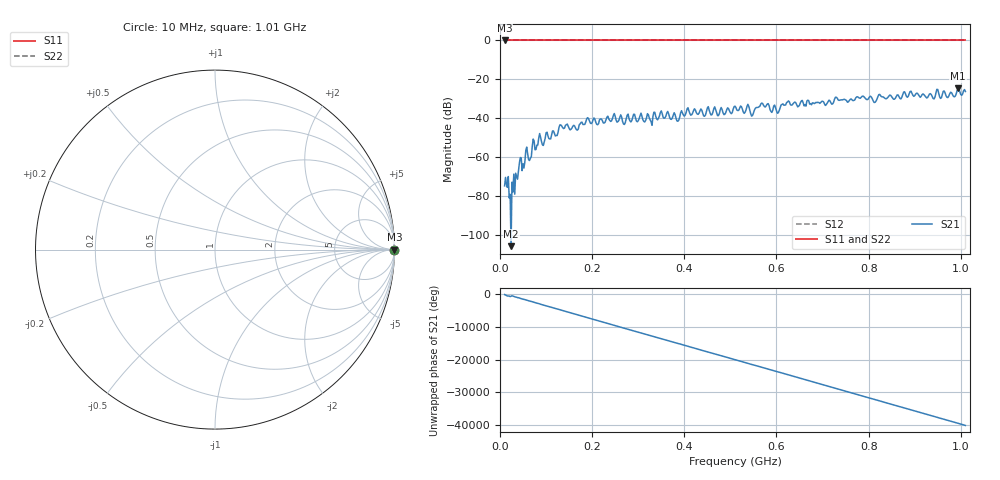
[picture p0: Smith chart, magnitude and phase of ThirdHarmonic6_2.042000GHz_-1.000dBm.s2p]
! 8/17/2025 12:29:33 AM
! C:\ANRITSUVNA\TEMP\TEMP.S2P
! CHANNEL.1
! TR.MEASUREMENT
! RAW.DATA
! RF.CORRECTION.OFF
! AVERAGING.OFF
! IF.BANDWIDTH: 5KHZ
! SWEEPTYPE:  FREQ.SWEEP(Linear)
! Reference Plane Port Info
! PORT:  PORT1  PORT2
! DISTANCE:  0  m  0  m
! TIME:  0  s  0  s
! PHASE.OFFSET:  0  deg.  0  deg.
! LOSS:  0  dB  0  dB
! REF.LOSS:  0  dB  0  dB
! REF.FREQ:  0  Hz  0  Hz
! Power Info
! POWER:  -20  dBm  -20  dBm
! EFF.POWER:  -20  dBm  -20  dBm
! SOURCE.ATTEN:  0  dB  0  dB
! TEST.ATTEN:  0  dB  0  dB
# GHZ S RI R 50.0
! FREQ.GHZ  S11RE  S11IM  S21RE  S21IM  S12RE  S12IM  S22RE  S22IM
!; PortSelection: Port_12
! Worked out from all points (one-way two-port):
!   501 points, 10 MHz to 1.01 GHz, reference 50 ohm
!   highest |S21| = -24.66 dB at 994 MHz (marker M1); lowest = -106.0 dB at 24 MHz (marker M2)
!   lowest |S11| = 0.0 dB at 10 MHz (marker M3)
!   |S11| at or under -10 dB: nowhere
!   |S22| runs from 0.0 to 0.0 dB; largest |S21 - S12| = 1.1
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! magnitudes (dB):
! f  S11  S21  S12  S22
! 10 MHz  0.0  -74.9  0.0  0.0
! 24 MHz  0.0  -106.0  0.0  0.0
! 42 MHz  0.0  -63.3  0.0  0.0
! 58 MHz  0.0  -55.0  0.0  0.0
! 64 MHz  0.0  -61.9  0.0  0.0
! 84 MHz  0.0  -50.4  0.0  0.0
! 122 MHz  0.0  -49.0  0.0  0.0
! 132 MHz  0.0  -43.5  0.0  0.0
! 178 MHz  0.0  -42.1  0.0  0.0
! 344 MHz  0.0  -40.0  0.0  0.0
! 386 MHz  0.0  -41.6  0.0  0.0
! 408 MHz  0.0  -34.7  0.0  0.0
! 510 MHz  0.0  -33.8  0.0  0.0
! 538 MHz  0.0  -32.9  0.0  0.0
! 548 MHz  0.0  -38.7  0.0  0.0
! 568 MHz  0.0  -32.3  0.0  0.0
! 602 MHz  0.0  -37.5  0.0  0.0
! 624 MHz  0.0  -31.7  0.0  0.0
! 678 MHz  0.0  -32.2  0.0  0.0
! 844 MHz  0.0  -28.6  0.0  0.0
! 994 MHz  0.0  -24.7  0.0  0.0
! 1.01 GHz  0.0  -26.3  0.0  0.0
